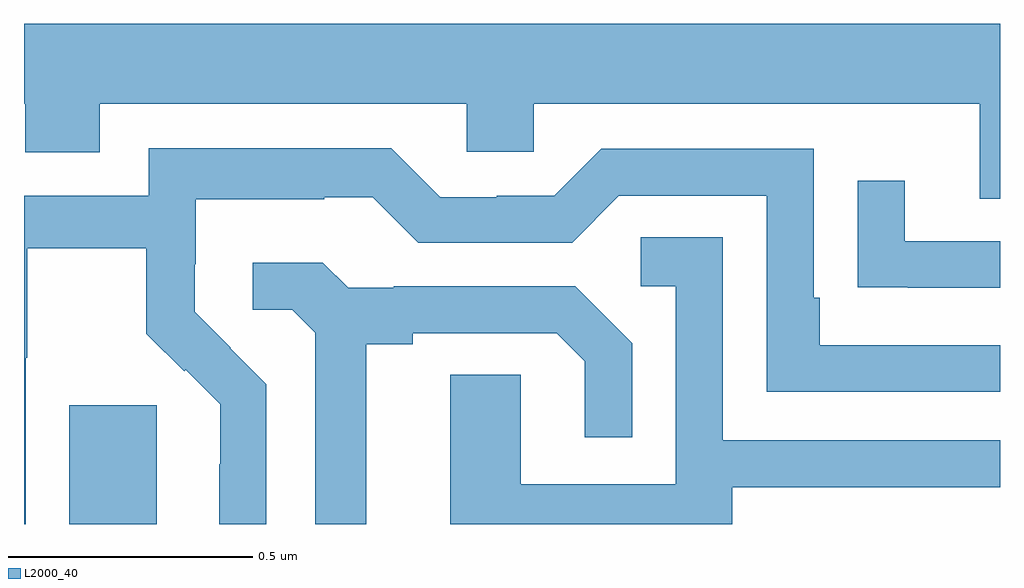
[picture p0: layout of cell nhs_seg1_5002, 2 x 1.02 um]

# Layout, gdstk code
import gdstk
lib = gdstk.Library(unit=1e-6, precision=1e-09)
def R(c, l, rs):  # rectangles x0, y0, x1, y1
    for r in rs: c.add(gdstk.rectangle(r[:2], r[2:], *l))
def P(c, l, *ps):  # polygons
    for p in ps: c.add(gdstk.Polygon(p, *l))
L2000_40 = (2000, 40)

nhs_seg1_5002 = lib.new_cell('nhs_seg1_5002')
R(nhs_seg1_5002, L2000_40, [(173.093,556.199,173.272,556.443)])
P(nhs_seg1_5002, L2000_40, [(175,557.224),(173,557.224),(173,557.06),(173.003,557.06),(173.003,556.961),(173.155,556.961),(173.155,557.06),(173.907,557.06),(173.907,556.962),(174.045,556.962),(174.045,557.06),(174.959,557.06),(174.959,556.866),(175,556.866)],
  [(173.004,556.54),(173.007,556.54),(173.007,556.764),(173.251,556.764),(173.251,556.589),(173.328,556.512),(173.331,556.515),(173.402,556.445),(173.402,556.322),(173.4,556.322),(173.4,556.199),(173.496,556.199),(173.496,556.486),(173.423,556.559),(173.424,556.56),(173.35,556.634),(173.35,556.731),(173.352,556.731),(173.352,556.865),(173.615,556.865),(173.615,556.869),(173.715,556.869),(173.808,556.776),(174.123,556.776),(174.219,556.872),(174.522,556.872),(174.522,556.47),(175,556.47),(175,556.566),(174.631,556.566),(174.631,556.663),(174.618,556.663),(174.618,556.968),(174.183,556.968),(174.087,556.872),(173.969,556.872),(173.969,556.869),(173.853,556.869),(173.753,556.969),(173.256,556.969),(173.256,556.872),(173,556.872),(173,556.199),(173.004,556.199)],
  [(175,556.779),(174.805,556.779),(174.805,556.903),(174.709,556.903),(174.709,556.684),(174.811,556.684),(174.811,556.683),(175,556.683)],
  [(174.451,556.275),(175,556.275),(175,556.371),(174.432,556.371),(174.432,556.787),(174.264,556.787),(174.264,556.686),(174.336,556.686),(174.336,556.281),(174.018,556.281),(174.018,556.505),(173.873,556.505),(173.873,556.199),(174.451,556.199)],
  [(173.701,556.568),(173.797,556.568),(173.797,556.59),(174.092,556.59),(174.149,556.533),(174.149,556.377),(174.246,556.377),(174.246,556.57),(174.13,556.686),(173.758,556.686),(173.758,556.683),(173.664,556.683),(173.612,556.735),(173.469,556.735),(173.469,556.638),(173.55,556.638),(173.597,556.591),(173.597,556.199),(173.701,556.199)])

lib.write_gds('nhs_seg1_5002.gds')
